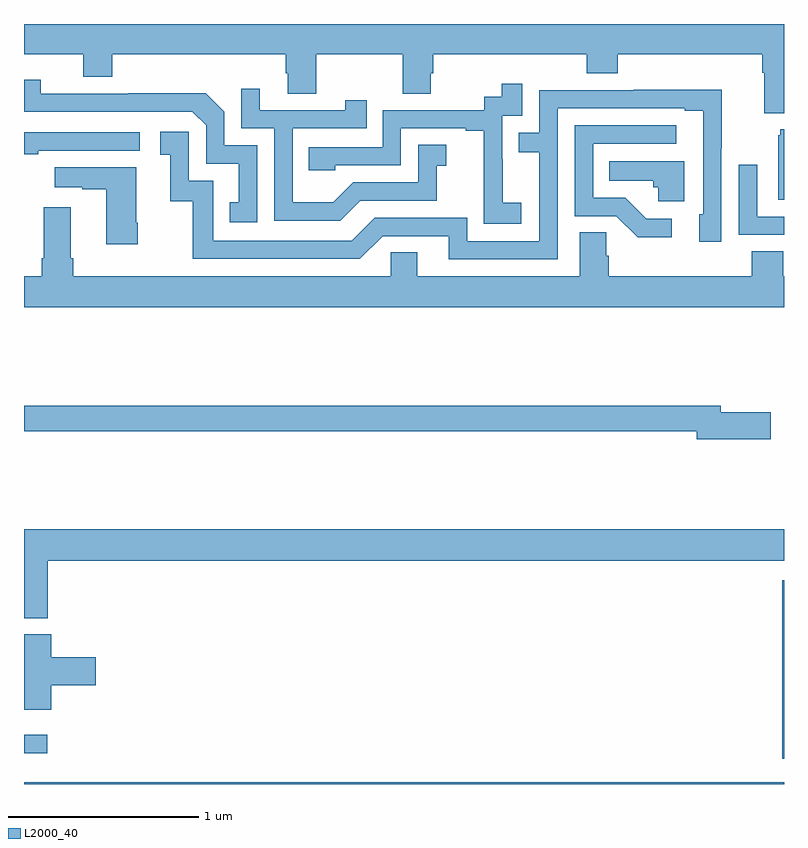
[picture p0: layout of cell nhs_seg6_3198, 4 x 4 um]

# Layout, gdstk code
import gdstk
lib = gdstk.Library(unit=1e-6, precision=1e-09)
def R(c, l, rs):  # rectangles x0, y0, x1, y1
    for r in rs: c.add(gdstk.rectangle(r[:2], r[2:], *l))
def P(c, l, *ps):  # polygons
    for p in ps: c.add(gdstk.Polygon(p, *l))
L2000_40 = (2000, 40)

nhs_seg6_3198 = lib.new_cell('nhs_seg6_3198')
R(nhs_seg6_3198, L2000_40, [(299,939.5,303,939.508), (302.99,939.633,303,940.573), (299,939.662,299.122,939.76)])
P(nhs_seg6_3198, L2000_40, [(303,943.5),(299,943.5),(299,943.34),(299.312,943.34),(299.312,943.223),(299.465,943.223),(299.465,943.34),(300.377,943.34),(300.377,943.242),(300.389,943.242),(300.389,943.132),(300.537,943.132),(300.537,943.34),(300.994,943.34),(300.994,943.132),(301.141,943.132),(301.141,943.242),(301.154,943.242),(301.154,943.34),(301.961,943.34),(301.961,943.241),(302.126,943.241),(302.126,943.34),(302.885,943.34),(302.885,943.244),(302.897,943.244),(302.897,943.031),(303,943.031)],
  [(300.228,942.861),(300.054,942.861),(300.054,943.038),(299.956,943.136),(299.548,943.136),(299.548,943.134),(299.088,943.134),(299.088,943.207),(299,943.207),(299,943.038),(299.886,943.038),(299.958,942.966),(299.958,942.765),(300.131,942.765),(300.131,942.561),(300.082,942.561),(300.082,942.456),(300.228,942.456)],
  [(301.618,942.559),(301.52,942.559),(301.52,942.788),(301.518,942.788),(301.518,943.017),(301.623,943.017),(301.623,943.186),(301.515,943.186),(301.515,943.116),(301.422,943.116),(301.422,943.047),(300.888,943.047),(300.888,942.852),(300.499,942.852),(300.499,942.729),(300.639,942.729),(300.639,942.756),(300.984,942.756),(300.984,942.951),(301.325,942.951),(301.325,942.939),(301.421,942.939),(301.421,942.655),(301.42,942.655),(301.42,942.449),(301.618,942.449)],
  [(300.769,942.57),(301.173,942.57),(301.173,942.755),(301.222,942.755),(301.222,942.865),(301.074,942.865),(301.074,942.666),(300.732,942.666),(300.628,942.562),(300.414,942.562),(300.414,942.951),(300.803,942.951),(300.803,943.099),(300.692,943.099),(300.692,943.047),(300.241,943.047),(300.241,943.159),(300.144,943.159),(300.144,942.951),(300.318,942.951),(300.318,942.465),(300.664,942.465)],
  [(301.809,943.056),(302.477,943.056),(302.477,943.044),(302.574,943.044),(302.574,942.498),(302.555,942.498),(302.555,942.354),(302.67,942.354),(302.67,942.847),(302.673,942.847),(302.673,943.154),(302.209,943.154),(302.209,943.152),(301.713,943.152),(301.713,942.927),(301.603,942.927),(301.603,942.826),(301.713,942.826),(301.713,942.357),(301.332,942.357),(301.332,942.48),(300.846,942.48),(300.726,942.36),(299.997,942.36),(299.997,942.675),(299.868,942.675),(299.868,942.934),(299.718,942.934),(299.718,942.813),(299.771,942.813),(299.771,942.567),(299.889,942.567),(299.889,942.264),(300.768,942.264),(300.888,942.384),(301.235,942.384),(301.235,942.261),(301.809,942.261)],
  [(302.41,942.474),(302.275,942.474),(302.164,942.585),(301.995,942.585),(301.995,942.87),(302.434,942.87),(302.434,942.966),(301.899,942.966),(301.899,942.489),(302.118,942.489),(302.231,942.377),(302.41,942.377)],
  [(303,942.946),(302.981,942.946),(302.981,942.915),(302.969,942.915),(302.969,942.575),(303,942.575)],
  [(299.075,942.834),(299.608,942.834),(299.608,942.93),(299,942.93),(299,942.814),(299.075,942.814)],
  [(302.476,942.778),(302.08,942.778),(302.08,942.674),(302.311,942.674),(302.311,942.642),(302.337,942.642),(302.337,942.566),(302.476,942.566)],
  [(303,942.486),(302.859,942.486),(302.859,942.76),(302.763,942.76),(302.763,942.39),(303,942.39)],
  [(299.598,942.454),(299.59,942.454),(299.59,942.745),(299.163,942.745),(299.163,942.641),(299.306,942.641),(299.306,942.631),(299.432,942.631),(299.432,942.342),(299.598,942.342)],
  [(303,942.172),(302.996,942.172),(302.996,942.305),(302.831,942.305),(302.831,942.172),(302.078,942.172),(302.078,942.281),(302.064,942.281),(302.064,942.404),(301.925,942.404),(301.925,942.172),(301.069,942.172),(301.069,942.299),(300.93,942.299),(300.93,942.172),(299.258,942.172),(299.258,942.268),(299.245,942.268),(299.245,942.535),(299.105,942.535),(299.105,942.268),(299.093,942.268),(299.093,942.172),(299,942.172),(299,942.008),(303,942.008)],
  [(302.929,941.456),(302.668,941.456),(302.668,941.492),(299,941.492),(299,941.356),(302.54,941.356),(302.54,941.314),(302.929,941.314)],
  [(299.126,940.676),(303,940.676),(303,940.84),(299,940.84),(299,940.372),(299.126,940.372)],
  [(299.144,940.019),(299.377,940.019),(299.377,940.166),(299.144,940.166),(299.144,940.287),(299,940.287),(299,939.891),(299.144,939.891)])

lib.write_gds('nhs_seg6_3198.gds')
